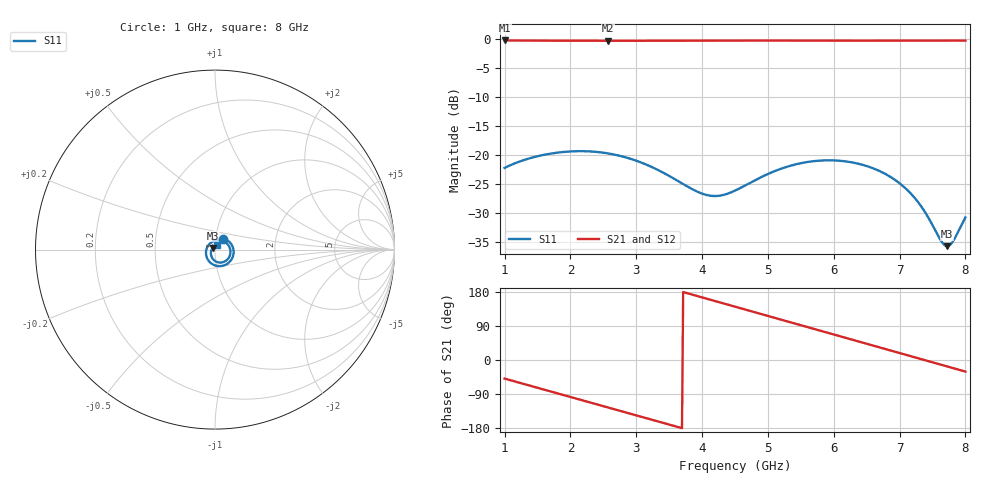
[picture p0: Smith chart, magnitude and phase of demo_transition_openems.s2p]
! kicad2openems openEMS FDTD (demo_transition)
! ports: 1=P1, 2=P2
# Hz S RI R 50
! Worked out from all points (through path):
!   401 points, 1 GHz to 8 GHz, reference 50 ohm
!   highest |S21| = -0.32 dB at 1 GHz (marker M1); lowest = -0.4 dB at 2.575 GHz (marker M2)
!   group delay of S21, straight-line fit = 135 ps
!   lowest |S11| = -35.8 dB at 7.72 GHz (marker M3), VSWR 1.03, Z = 48.7 + j0.876 ohm
!   |S11| at or under -10 dB: start of sweep to end of sweep
!   |S22| runs from - to - dB; largest |S21 - S12| = 0
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1e9  0.0464 0.0613  0.6316 -0.7282  0.6316 -0.7282  0 0
1.6125e9  0.099 0.0143  0.1862 -0.9416  0.1862 -0.9416  0 0
1.8925e9  0.1036 -0.0193  -0.0401 -0.9579  -0.0401 -0.9579  0 0
2.1725e9  0.0934 -0.0525  -0.2635 -0.9209  -0.2635 -0.9209  0 0
2.575e9  0.0556 -0.086  -0.555 -0.7797  -0.555 -0.7797  0 0
2.9775e9  0.0052 -0.0894  -0.7839 -0.5508  -0.7839 -0.5508  0 0
3.345e9  -0.033 -0.0651  -0.917 -0.2846  -0.917 -0.2846  0 0
3.6425e9  -0.0488 -0.0329  -0.9606 -0.0456  -0.9606 -0.0456  0 0
3.9225e9  -0.0481 0.000342  -0.945 0.1836  -0.945 0.1836  0 0
4.2025e9  -0.0328 0.0293  -0.8748 0.4027  -0.8748 0.4027  0 0
4.5e9  -0.00448 0.0488  -0.7451 0.6097  -0.7451 0.6097  0 0
4.815e9  0.0312 0.0519  -0.5558 0.7853  -0.5558 0.7853  0 0
5.1125e9  0.0616 0.0382  -0.3405 0.8989  -0.3405 0.8989  0 0
5.3925e9  0.0805 0.0139  -0.1184 0.953  -0.1184 0.953  0 0
5.6725e9  0.0862 -0.0154  0.1097 0.9533  0.1097 0.9533  0 0
6.2325e9  0.0588 -0.0636  0.534 0.7969  0.534 0.7969  0 0
6.845e9  0.00251 -0.0651  0.8618 0.4254  0.8618 0.4254  0 0
7.2475e9  -0.0207 -0.0356  0.956 0.1091  0.956 0.1091  0 0
7.6325e9  -0.0179 0.00131  0.9395 -0.2075  0.9395 -0.2075  0 0
7.72e9  -0.0135 0.009  0.921 -0.2775  0.921 -0.2775  0 0
7.8075e9  -0.00785 0.0159  0.8973 -0.3458  0.8973 -0.3458  0 0
8e9  0.00846 0.0275  0.8273 -0.4882  0.8273 -0.4882  0 0
